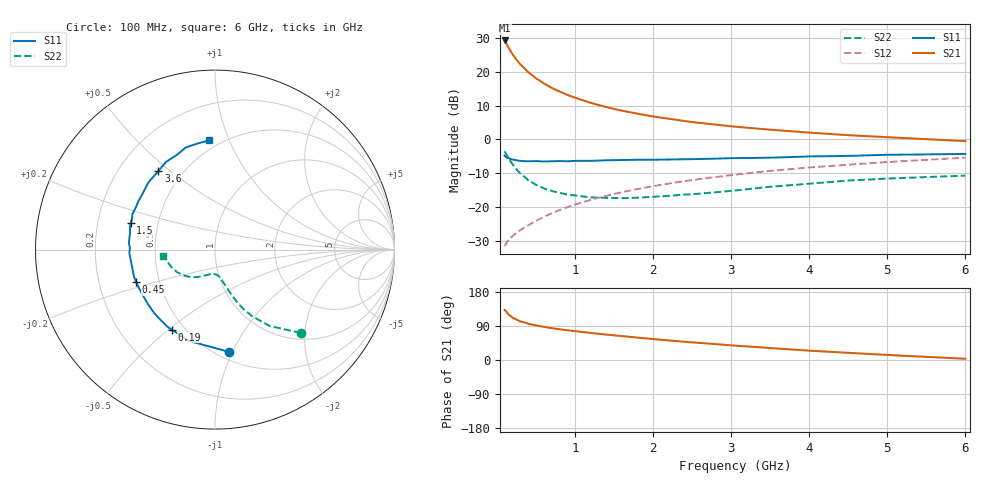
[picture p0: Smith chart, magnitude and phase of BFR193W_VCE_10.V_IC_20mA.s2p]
! Infineon Technologies  Discrete & RF Semiconductors
! BFR193W
! VCE =  10. V,  IC =  20 mA
! Common Emitter S-Parameters:  Nov 2015
# GHz  S  MA  R  50
!  f  S11  S21  S12  S22
! GHz  MAG  ANG  MAG  ANG  MAG  ANG  MAG  ANG
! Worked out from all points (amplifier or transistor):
!   192 points, 100 MHz to 6 GHz, reference 50 ohm
!   highest |S21| = 29.3 dB at 100 MHz (marker M1)
!   |S21| within 3 dB of that: start of sweep to 173 MHz
!   unconditionally stable (mu >= 1): 829.4 MHz to 2.641 GHz
!   at 440 MHz: K = 0.86, MSG = 22.1 dB, |S12| = -24.9 dB
!   at 1.7 GHz: K = 1.03, MAG = 10.5 dB, |S12| = -15.2 dB
!   at 6 GHz: K = 0.90, MSG = 2.5 dB, |S12| = -5.4 dB
!   S11 on the Smith chart (normalised r, x): 100 MHz: 0.57, -0.97; 190 MHz: 0.43, -0.51; 450 MHz: 0.37, -0.17; 1.5 GHz: 0.35, +0.13; 3.6 GHz: 0.37, +0.46; 6 GHz: 0.44, +0.85
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0.1  0.5753 -82.1  29.19 132.0  0.0262 59.2  0.6666 -44.1
0.15  0.5293 -105.8  22.75 119.9  0.0324 55.3  0.5249 -54.3
0.19  0.5069 -118.3  19.18 113.7  0.036 54.9  0.4479 -59.1
0.2  0.5053 -121.6  18.33 111.8  0.0369 54.8  0.4293 -60.6
0.24  0.4928 -130.6  15.82 107.5  0.0403 55.0  0.3734 -63.9
0.26  0.4887 -134.5  14.76 105.5  0.0419 55.4  0.3505 -65.3
0.3  0.481 -141.3  12.97 102.0  0.0452 56.5  0.3141 -67.4
0.4  0.4752 -153.5  9.943 95.7  0.0533 59.1  0.2504 -71.1
0.45  0.4745 -157.5  8.993 93.7  0.0576 60.4  0.2315 -72.1
0.5  0.4761 -161.4  8.057 91.2  0.0619 61.6  0.2126 -73.3
0.6  0.4718 -168.1  6.768 87.4  0.071 63.3  0.1885 -75.9
0.7  0.4734 -172.8  5.813 84.1  0.08 64.6  0.1725 -77.4
0.9  0.4741 178.9  4.565 78.5  0.0987 66.0  0.1525 -80.8
1.1  0.4807 172.7  3.808 73.8  0.1176 66.5  0.1431 -84.8
1.2  0.4815 169.8  3.48 71.4  0.127 66.5  0.1387 -87.1
1.5  0.4922 162.7  2.824 65.0  0.1551 66.0  0.1358 -93.4
2.08  0.5014 150.4  2.116 53.9  0.2102 63.4  0.143 -103.9
3.1  0.5281 133.2  1.523 37.3  0.3042 56.5  0.1774 -121.1
3.6  0.5397 125.7  1.363 30.1  0.3496 52.7  0.2026 -130.9
4.1  0.5607 117.7  1.238 23.5  0.3909 48.6  0.2255 -140.7
5.1  0.5928 104.7  1.065 12.3  0.4688 40.7  0.2652 -160.7
6  0.6093 93.2  0.944 3.3  0.5357 33.3  0.2901 -172.4
